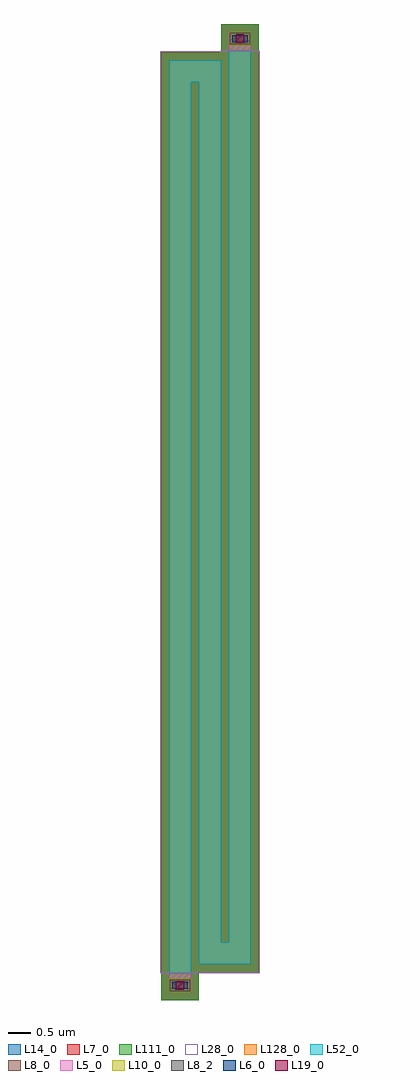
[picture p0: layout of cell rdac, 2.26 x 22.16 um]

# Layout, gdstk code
import gdstk
lib = gdstk.Library(unit=1e-6, precision=1e-09)
def R(c, l, rs):  # rectangles x0, y0, x1, y1
    for r in rs: c.add(gdstk.rectangle(r[:2], r[2:], *l))
L5_0 = (5, 0)
L6_0 = (6, 0)
L7_0 = (7, 0)
L8_0 = (8, 0)
L8_2 = (8, 2)
L10_0 = (10, 0)
L14_0 = (14, 0)
L19_0 = (19, 0)
L28_0 = (28, 0)
L52_0 = (52, 0)
L111_0 = (111, 0)
L128_0 = (128, 0)

rhigh = lib.new_cell('rhigh')
R(rhigh, L5_0, [(0,-0.43,0.5,0), (1.36,20.94,1.86,21.37)])
R(rhigh, L6_0, [(0.07,-0.36,0.43,-0.2), (1.43,21.14,1.79,21.3)])
R(rhigh, L7_0, [(-0.18,-0.61,0.68,0.18), (-0.18,0,2.04,20.91), (-0.18,0,0.68,20.23), (1.18,0.7,2.04,20.94), (1.18,20.76,2.04,21.55), (1.18,20.93,2.04,20.94)])
R(rhigh, L8_0, [(0.02,-0.41,0.48,-0.15), (1.38,21.09,1.84,21.35)])
R(rhigh, L8_2, [(0.02,-0.41,0.48,-0.15), (1.38,21.09,1.84,21.35)])
R(rhigh, L14_0, [(-0.18,-0.61,0.68,0.18), (-0.18,0,2.04,20.91), (-0.18,0,0.68,20.23), (1.18,0.7,2.04,20.94), (1.18,20.76,2.04,21.55), (1.18,20.93,2.04,20.94)])
R(rhigh, L28_0, [(-0.2,0,2.06,20.93), (1.16,20.93,2.06,20.94)])
R(rhigh, L52_0, [(0,0,0.5,20.23), (0.68,0.2,1.86,0.7), (0.68,0.7,1.18,20.23), (1.36,0.7,1.86,20.94), (0,20.23,1.18,20.73)])
R(rhigh, L111_0, [(-0.18,-0.61,0.68,0.18), (-0.2,0,2.06,20.93), (1.18,20.76,2.04,21.55), (1.16,20.93,2.06,20.94)])
R(rhigh, L128_0, [(0,0,0.5,20.23), (0.68,0.2,1.86,0.7), (0.68,0.7,1.18,20.23), (1.36,0.7,1.86,20.94), (0,20.23,1.18,20.73)])
rhigh.add(gdstk.Label('rhigh r=181716.193', (0.25,9.765), layer=63, texttype=0))
rhigh.add(gdstk.Label('rhigh', (0.25,10.115), layer=52, texttype=0))
rhigh.add(gdstk.Label('rhigh', (0.59,20.48), layer=52, texttype=0))
rhigh.add(gdstk.Label('rhigh', (0.93,10.465), layer=52, texttype=0))
rhigh.add(gdstk.Label('rhigh', (1.27,0.45), layer=52, texttype=0))
rhigh.add(gdstk.Label('rhigh', (1.61,10.82), layer=52, texttype=0))

rdac = lib.new_cell('rdac')
R(rdac, L8_0, [(0.095,-0.435,0.405,-0.125), (1.455,21.065,1.765,21.375)])
R(rdac, L10_0, [(0.005,-0.435,0.495,-0.125), (1.365,21.065,1.855,21.375)])
R(rdac, L19_0, [(0.155,-0.375,0.345,-0.185), (1.515,21.125,1.705,21.315)])
rdac.add(gdstk.Reference(rhigh, (0,0)))

lib.write_gds('rdac.gds')
